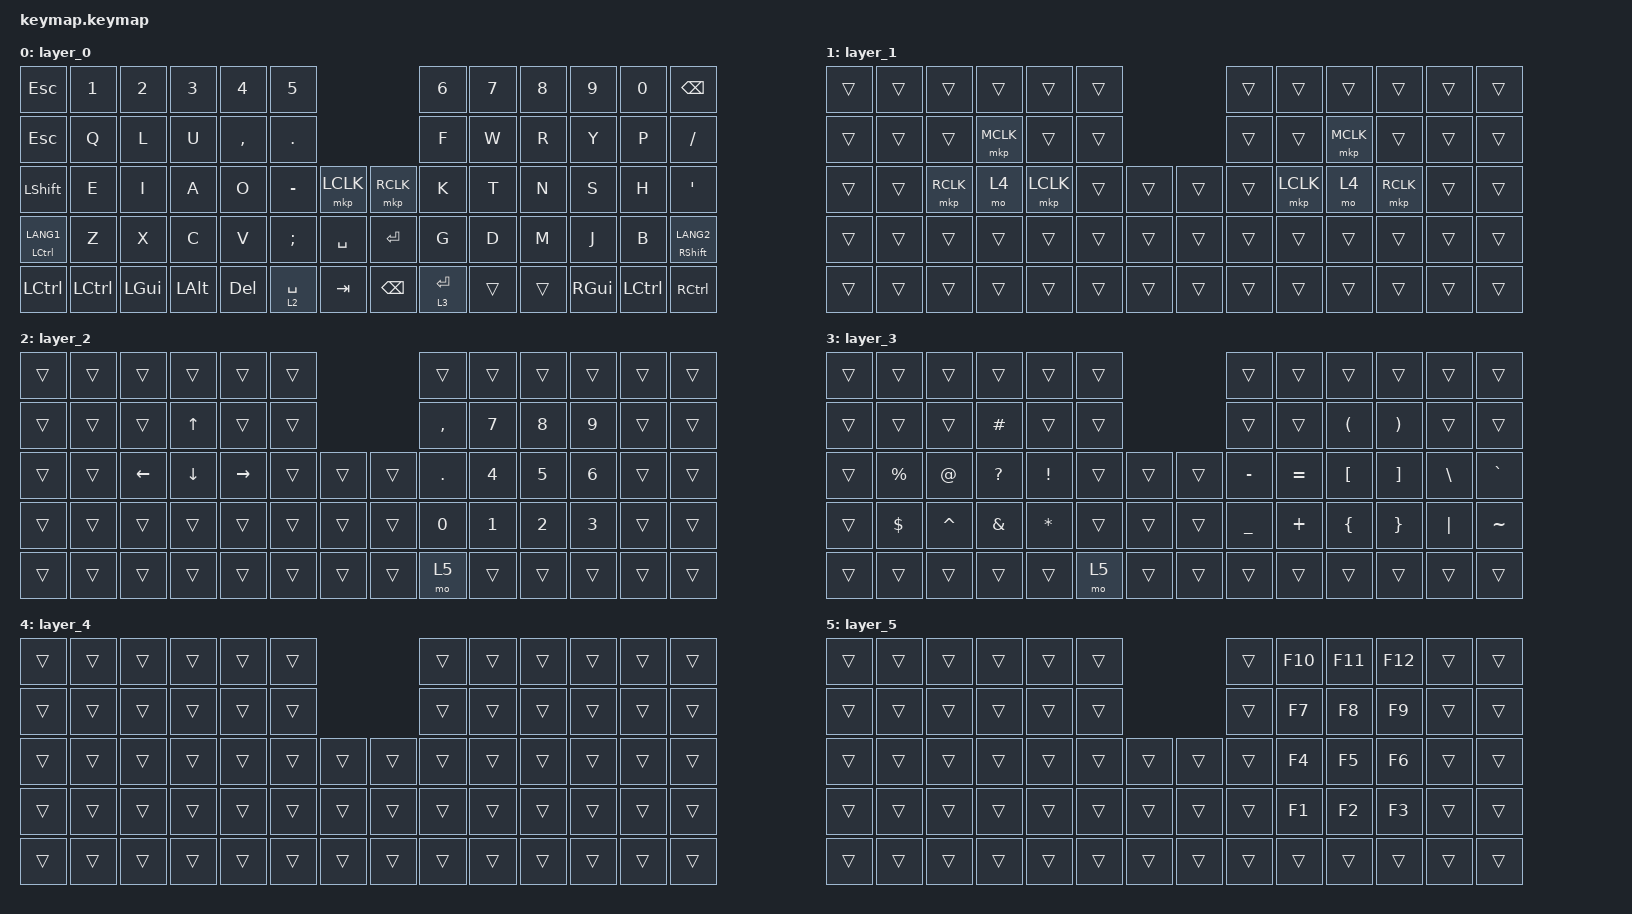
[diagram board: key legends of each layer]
#include <behaviors.dtsi>
#include <dt-bindings/zmk/bt.h>
#include <dt-bindings/zmk/keys.h>
#include <dt-bindings/zmk/pointing.h>

/ {
    combos {
        compatible = "zmk,combos";

        bt_clear {
            bindings = <&bt BT_CLR>;
            key-positions = <28 29>;
            layers = <2>;
        };
    };

    keymap {
        compatible = "zmk,keymap";

        layer_0 {
            bindings = <
&kp ESC                 &kp N1            &kp N2    &kp N3    &kp N4     &kp N5                                   &kp N6       &kp N7  &kp N8  &kp N9    &kp N0            &kp BSPC
&kp ESC                 &kp Q             &kp L     &kp U     &kp COMMA  &kp PERIOD                               &kp F        &kp W   &kp R   &kp Y     &kp P             &kp SLASH
&kp LEFT_SHIFT          &kp E             &kp I     &kp A     &kp O      &kp MINUS      &mkp LCLK  &mkp RCLK      &kp K        &kp T   &kp N   &kp S     &kp H             &kp SQT
&mt LEFT_CONTROL LANG1  &kp Z             &kp X     &kp C     &kp V      &kp SEMICOLON  &kp SPACE  &kp RET        &kp G        &kp D   &kp M   &kp J     &kp B             &mt RSHFT LANG2
&kp LCTRL               &kp LEFT_CONTROL  &kp LGUI  &kp LALT  &kp DEL    &lt 2 SPACE    &kp TAB    &kp BACKSPACE  &lt 3 ENTER  &trans  &trans  &kp RGUI  &kp LEFT_CONTROL  &kp RCTRL
            >;
        };

        layer_1 {
            bindings = <
&trans  &trans  &trans     &trans     &trans     &trans                  &trans  &trans     &trans     &trans     &trans  &trans
&trans  &trans  &trans     &mkp MCLK  &trans     &trans                  &trans  &trans     &mkp MCLK  &trans     &trans  &trans
&trans  &trans  &mkp RCLK  &mo 4      &mkp LCLK  &trans  &trans  &trans  &trans  &mkp LCLK  &mo 4      &mkp RCLK  &trans  &trans
&trans  &trans  &trans     &trans     &trans     &trans  &trans  &trans  &trans  &trans     &trans     &trans     &trans  &trans
&trans  &trans  &trans     &trans     &trans     &trans  &trans  &trans  &trans  &trans     &trans     &trans     &trans  &trans
            >;
        };

        layer_2 {
            bindings = <
&trans  &trans  &trans          &trans          &trans           &trans                  &trans      &trans  &trans  &trans        &trans  &trans
&trans  &trans  &trans          &kp UP_ARROW    &trans           &trans                  &kp COMMA   &kp N7  &kp N8  &kp N9        &trans  &trans
&trans  &trans  &kp LEFT_ARROW  &kp DOWN_ARROW  &kp RIGHT_ARROW  &trans  &trans  &trans  &kp PERIOD  &kp N4  &kp N5  &kp NUMBER_6  &trans  &trans
&trans  &trans  &trans          &trans          &trans           &trans  &trans  &trans  &kp N0      &kp N1  &kp N2  &kp N3        &trans  &trans
&trans  &trans  &trans          &trans          &trans           &trans  &trans  &trans  &mo 5       &trans  &trans  &trans        &trans  &trans
            >;
        };

        layer_3 {
            bindings = <
&trans  &trans       &trans       &trans         &trans           &trans                  &trans          &trans     &trans                &trans                 &trans         &trans
&trans  &trans       &trans       &kp HASH       &trans           &trans                  &trans          &trans     &kp LEFT_PARENTHESIS  &kp RIGHT_PARENTHESIS  &trans         &trans
&trans  &kp PERCENT  &kp AT_SIGN  &kp QUESTION   &kp EXCLAMATION  &trans  &trans  &trans  &kp MINUS       &kp EQUAL  &kp LEFT_BRACKET      &kp RIGHT_BRACKET      &kp BACKSLASH  &kp GRAVE
&trans  &kp DOLLAR   &kp CARET    &kp AMPERSAND  &kp ASTERISK     &trans  &trans  &trans  &kp UNDERSCORE  &kp PLUS   &kp LEFT_BRACE        &kp RIGHT_BRACE        &kp PIPE       &kp TILDE
&trans  &trans       &trans       &trans         &trans           &mo 5   &trans  &trans  &trans          &trans     &trans                &trans                 &trans         &trans
            >;
        };

        layer_4 {
            bindings = <
&trans  &trans  &trans  &trans  &trans  &trans                  &trans  &trans  &trans  &trans  &trans  &trans
&trans  &trans  &trans  &trans  &trans  &trans                  &trans  &trans  &trans  &trans  &trans  &trans
&trans  &trans  &trans  &trans  &trans  &trans  &trans  &trans  &trans  &trans  &trans  &trans  &trans  &trans
&trans  &trans  &trans  &trans  &trans  &trans  &trans  &trans  &trans  &trans  &trans  &trans  &trans  &trans
&trans  &trans  &trans  &trans  &trans  &trans  &trans  &trans  &trans  &trans  &trans  &trans  &trans  &trans
            >;
        };

        layer_5 {
            bindings = <
&trans  &trans  &trans  &trans  &trans  &trans                  &trans  &kp F10  &kp F11  &kp F12  &trans  &trans
&trans  &trans  &trans  &trans  &trans  &trans                  &trans  &kp F7   &kp F8   &kp F9   &trans  &trans
&trans  &trans  &trans  &trans  &trans  &trans  &trans  &trans  &trans  &kp F4   &kp F5   &kp F6   &trans  &trans
&trans  &trans  &trans  &trans  &trans  &trans  &trans  &trans  &trans  &kp F1   &kp F2   &kp F3   &trans  &trans
&trans  &trans  &trans  &trans  &trans  &trans  &trans  &trans  &trans  &trans   &trans   &trans   &trans  &trans
            >;
        };
    };
};
